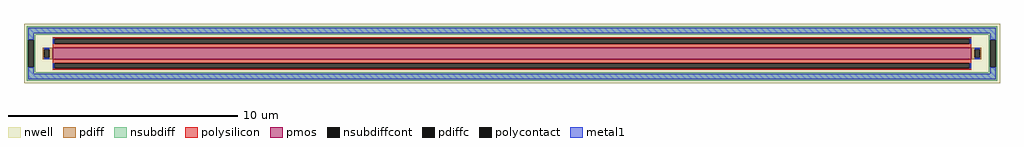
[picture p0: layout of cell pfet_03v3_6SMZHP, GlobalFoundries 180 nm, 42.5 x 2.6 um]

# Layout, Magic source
magic
tech gf180mcuD
magscale 1 10
<< nwell >>
rect -4250 -260 4250 260
<< pmos >>
rect -4000 -50 4000 50
<< pdiff >>
rect -4088 37 -4000 50
rect -4088 -37 -4075 37
rect -4029 -37 -4000 37
rect -4088 -50 -4000 -37
rect 4000 37 4088 50
rect 4000 -37 4029 37
rect 4075 -37 4088 37
rect 4000 -50 4088 -37
<< pdiffc >>
rect -4075 -37 -4029 37
rect 4029 -37 4075 37
<< nsubdiff >>
rect -4226 164 4226 236
rect -4226 120 -4154 164
rect -4226 -120 -4213 120
rect -4167 -120 -4154 120
rect 4154 120 4226 164
rect -4226 -164 -4154 -120
rect 4154 -120 4167 120
rect 4213 -120 4226 120
rect 4154 -164 4226 -120
rect -4226 -236 4226 -164
<< nsubdiffcont >>
rect -4213 -120 -4167 120
rect 4167 -120 4213 120
<< polysilicon >>
rect -4000 129 4000 142
rect -4000 83 -3987 129
rect 3987 83 4000 129
rect -4000 50 4000 83
rect -4000 -83 4000 -50
rect -4000 -129 -3987 -83
rect 3987 -129 4000 -83
rect -4000 -142 4000 -129
<< polycontact >>
rect -3987 83 3987 129
rect -3987 -129 3987 -83
<< metal1 >>
rect -4213 177 4213 223
rect -4213 120 -4167 177
rect -3998 83 -3987 129
rect 3987 83 3998 129
rect 4167 120 4213 177
rect -4075 37 -4029 48
rect -4075 -48 -4029 -37
rect 4029 37 4075 48
rect 4029 -48 4075 -37
rect -4213 -177 -4167 -120
rect -3998 -129 -3987 -83
rect 3987 -129 3998 -83
rect 4167 -177 4213 -120
rect -4213 -223 4213 -177
<< properties >>
string FIXED_BBOX -4190 -200 4190 200
string gencell pfet_03v3
string library gf180mcu
string parameters w 0.5 l 40 m 1 nf 1 diffcov 100 polycov 100 guard 1 glc 1 grc 1 gtc 0 gbc 0 tbcov 100 rlcov 100 topc 1 botc 1 poverlap 0 doverlap 1 lmin 0.28 wmin 0.22 class mosfet full_metal 1 compatible {pfet_03v3 pfet_05v0 pfet_06v0}
<< end >>
